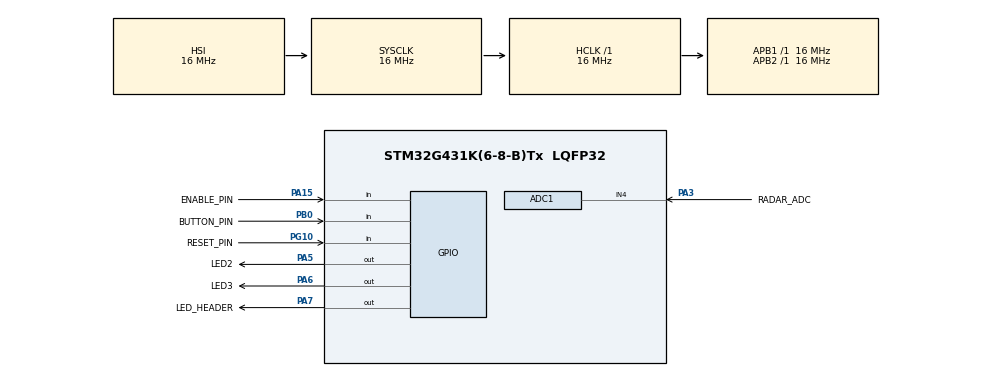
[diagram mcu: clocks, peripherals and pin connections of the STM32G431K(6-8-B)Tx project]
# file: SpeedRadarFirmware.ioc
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ADC1.Channel-1\#ChannelRegularConversion=ADC_CHANNEL_4
ADC1.DMAContinuousRequests=ENABLE
ADC1.ExternalTrigConv=ADC_EXTERNALTRIG_T6_TRGO
ADC1.NbrOfConversionFlag=1
ADC1.OffsetNumber-1\#ChannelRegularConversion=ADC_OFFSET_NONE
ADC1.Rank-1\#ChannelRegularConversion=1
ADC1.SamplingTime-1\#ChannelRegularConversion=ADC_SAMPLETIME_2CYCLES_5
ADC1.master=1
Dma.ADC1.0.Direction=DMA_PERIPH_TO_MEMORY
Dma.ADC1.0.EventEnable=DISABLE
Dma.ADC1.0.Instance=DMA1_Channel1
Dma.ADC1.0.MemDataAlignment=DMA_MDATAALIGN_HALFWORD
Dma.ADC1.0.MemInc=DMA_MINC_ENABLE
Dma.ADC1.0.Mode=DMA_CIRCULAR
Dma.ADC1.0.PeriphDataAlignment=DMA_PDATAALIGN_HALFWORD
Dma.ADC1.0.PeriphInc=DMA_PINC_DISABLE
Dma.ADC1.0.Polarity=HAL_DMAMUX_REQ_GEN_RISING
Dma.ADC1.0.Priority=DMA_PRIORITY_LOW
Dma.ADC1.0.RequestNumber=1
Dma.ADC1.0.SignalID=NONE
Dma.ADC1.0.SyncEnable=DISABLE
Dma.ADC1.0.SyncPolarity=HAL_DMAMUX_SYNC_NO_EVENT
Dma.ADC1.0.SyncRequestNumber=1
Dma.ADC1.0.SyncSignalID=NONE
Dma.Request0=ADC1
Mcu.Family=STM32G4
Mcu.Name=STM32G431K(6-8-B)Tx
Mcu.Package=LQFP32
NVIC.DMA1_Channel1_IRQn=true\:0\:0\:false\:false\:true\:false\:true\:true
NVIC.PriorityGroup=NVIC_PRIORITYGROUP_4
PA13.Signal=SYS_JTMS-SWDIO
PA14.Signal=SYS_JTCK-SWCLK
PA15.GPIO_Label=ENABLE_PIN
PA15.Signal=GPIO_Input
PA3.GPIO_Label=RADAR_ADC
PA3.Mode=IN4-Single-Ended
PA3.Signal=ADC1_IN4
PA5.GPIO_Label=LED2
PA5.Signal=GPIO_Output
PA6.GPIO_Label=LED3
PA6.Signal=GPIO_Output
PA7.GPIO_Label=LED_HEADER
PA7.Signal=GPIO_Output
PA8.Signal=I2C2_SDA
PA9.Signal=I2C2_SCL
PB0.GPIO_Label=BUTTON_PIN
PB0.Signal=GPIO_Input
PG10-NRST.GPIO_Label=RESET_PIN
PG10-NRST.Signal=GPIO_Input
ProjectManager.HeapSize=0x200
ProjectManager.StackSize=0x400
ProjectManager.TargetToolchain=STM32CubeIDE
RCC.AHBFreq_Value=16000000
RCC.APB1Freq_Value=16000000
RCC.APB1TimFreq_Value=16000000
RCC.APB2Freq_Value=16000000
RCC.APB2TimFreq_Value=16000000
RCC.CortexFreq_Value=16000000
RCC.EXTERNAL_CLOCK_VALUE=12288000
RCC.HCLKFreq_Value=16000000
RCC.HSE_VALUE=8000000
RCC.HSI48_VALUE=48000000
RCC.HSI_VALUE=16000000
RCC.LSE_VALUE=32768
RCC.SYSCLKFreq_VALUE=16000000
RCC.USBFreq_Value=64000000
RCC.VCOOutputFreq_Value=128000000
TIM6.AutoReloadPreload=TIM_AUTORELOAD_PRELOAD_ENABLE
TIM6.PeriodNoDither=99
TIM6.Prescaler=169
TIM6.TIM_MasterOutputTrigger=TIM_TRGO_UPDATE
VP_SYS_VS_DBSignals.Mode=DisableDeadBatterySignals
VP_TIM6_VS_ClockSourceINT.Mode=Enable_Timer
board=custom

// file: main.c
/* USER CODE BEGIN Header */
/**
  ******************************************************************************
  * @file           : main.c
  * @brief          : Main program body
  ******************************************************************************
  * @attention
  *
  * Copyright (c) 2026 STMicroelectronics.
  * All rights reserved.
  *
  * This software is licensed under terms that can be found in the LICENSE file
  * in the root directory of this software component.
  * If no LICENSE file comes with this software, it is provided AS-IS.
  *
  ******************************************************************************
  */
/* USER CODE END Header */
#include "main.h"

/* USER CODE BEGIN Includes */
#include "arm_math.h"
/* USER CODE END Includes */

/* USER CODE BEGIN PD */
#define ARM_MATH_CM4

#define c 299792458.0f // m/s
/* USER CODE END PD */

ADC_HandleTypeDef hadc1;
DMA_HandleTypeDef hdma_adc1;

TIM_HandleTypeDef htim6;

void SystemClock_Config(void);
static void MX_GPIO_Init(void);
static void MX_DMA_Init(void);
static void MX_ADC1_Init(void);
static void MX_TIM6_Init(void);

/* USER CODE BEGIN 0 */
uint16_t ADC_BUFFER[2048];

float32_t ADC_FLOAT[1024];
float32_t fft_output[1024];
float32_t fft_mag[512];
float32_t max_mag;
uint32_t max_mag_index;

volatile uint8_t data_ready_flag = 0;
uint16_t *current_buffer_ptr;

arm_rfft_fast_instance_f32 S;

float32_t velocity;

/* USER CODE END 0 */

int main(void)
{

  /* MCU Configuration--------------------------------------------------------*/

  /* Reset of all peripherals, Initializes the Flash interface and the Systick. */
  HAL_Init();

  /* Configure the system clock */
  SystemClock_Config();

  /* Initialize all configured peripherals */
  MX_GPIO_Init();
  MX_DMA_Init();
  MX_ADC1_Init();
  MX_TIM6_Init();
  /* USER CODE BEGIN 2 */
  HAL_ADC_Start_DMA(&hadc1, (uint32_t*)ADC_BUFFER, 2048);
  HAL_TIM_Base_Start(&htim6);

  arm_rfft_fast_init_f32(&S, 1024); // Initialize the FFT engine
  /* USER CODE END 2 */

  /* Infinite loop */
  /* USER CODE BEGIN WHILE */
  while (1)
  {
	  if(data_ready_flag != 0){
		  if(data_ready_flag == 1){
			  current_buffer_ptr = &ADC_BUFFER[0];
		  }
		  if(data_ready_flag == 2){
			  current_buffer_ptr = &ADC_BUFFER[1024];
		  }
		  for(int i = 0; i < 1024; i++){
			  ADC_FLOAT[i] = (float32_t)current_buffer_ptr[i]; // Convert to float
			  ADC_FLOAT[i] -= 2048.0f; // Deal with DC offset
		  }

		  arm_rfft_fast_f32(&S, ADC_FLOAT, fft_output, 0); // Forward FFT
		  arm_cmplx_mag_f32(fft_output, fft_mag, 512); // Calculate magnitudes of the complex frequencies

		  arm_max_f32(&fft_mag[5], 512 - 5, &max_mag, &max_mag_index); // findmax

		  // Calculate the velocity

		  velocity = c * ((max_mag_index + 5) * (10000.0f / 1024.0f)) / (2.0f * 10.525 * 1000000000.0f); // in m/s
		  velocity *= 3.6; // convert to kmh

		  data_ready_flag = 0;
	  }
    /* USER CODE END WHILE */

  }
}

void SystemClock_Config(void)
{
  RCC_OscInitTypeDef RCC_OscInitStruct = {0};
  RCC_ClkInitTypeDef RCC_ClkInitStruct = {0};

  /** Configure the main internal regulator output voltage
  */
  HAL_PWREx_ControlVoltageScaling(PWR_REGULATOR_VOLTAGE_SCALE1);

  /** Initializes the RCC Oscillators according to the specified parameters
  * in the RCC_OscInitTypeDef structure.
  */
  RCC_OscInitStruct.OscillatorType = RCC_OSCILLATORTYPE_HSI;
  RCC_OscInitStruct.HSIState = RCC_HSI_ON;
  RCC_OscInitStruct.HSICalibrationValue = RCC_HSICALIBRATION_DEFAULT;
  RCC_OscInitStruct.PLL.PLLState = RCC_PLL_NONE;
  if (HAL_RCC_OscConfig(&RCC_OscInitStruct) != HAL_OK)
  {
    Error_Handler();
  }

  /** Initializes the CPU, AHB and APB buses clocks
  */
  RCC_ClkInitStruct.ClockType = RCC_CLOCKTYPE_HCLK|RCC_CLOCKTYPE_SYSCLK
                              |RCC_CLOCKTYPE_PCLK1|RCC_CLOCKTYPE_PCLK2;
  RCC_ClkInitStruct.SYSCLKSource = RCC_SYSCLKSOURCE_HSI;
  RCC_ClkInitStruct.AHBCLKDivider = RCC_SYSCLK_DIV1;
  RCC_ClkInitStruct.APB1CLKDivider = RCC_HCLK_DIV1;
  RCC_ClkInitStruct.APB2CLKDivider = RCC_HCLK_DIV1;

  if (HAL_RCC_ClockConfig(&RCC_ClkInitStruct, FLASH_LATENCY_0) != HAL_OK)
  {
    Error_Handler();
  }
}

static void MX_ADC1_Init(void)
{

  ADC_MultiModeTypeDef multimode = {0};
  ADC_ChannelConfTypeDef sConfig = {0};

  /** Common config
  */
  hadc1.Instance = ADC1;
  hadc1.Init.ClockPrescaler = ADC_CLOCK_SYNC_PCLK_DIV2;
  hadc1.Init.Resolution = ADC_RESOLUTION_12B;
  hadc1.Init.DataAlign = ADC_DATAALIGN_RIGHT;
  hadc1.Init.GainCompensation = 0;
  hadc1.Init.ScanConvMode = ADC_SCAN_DISABLE;
  hadc1.Init.EOCSelection = ADC_EOC_SINGLE_CONV;
  hadc1.Init.LowPowerAutoWait = DISABLE;
  hadc1.Init.ContinuousConvMode = DISABLE;
  hadc1.Init.NbrOfConversion = 1;
  hadc1.Init.DiscontinuousConvMode = DISABLE;
  hadc1.Init.ExternalTrigConv = ADC_EXTERNALTRIG_T6_TRGO;
  hadc1.Init.ExternalTrigConvEdge = ADC_EXTERNALTRIGCONVEDGE_RISING;
  hadc1.Init.DMAContinuousRequests = ENABLE;
  hadc1.Init.Overrun = ADC_OVR_DATA_PRESERVED;
  hadc1.Init.OversamplingMode = DISABLE;
  if (HAL_ADC_Init(&hadc1) != HAL_OK)
  {
    Error_Handler();
  }

  /** Configure the ADC multi-mode
  */
  multimode.Mode = ADC_MODE_INDEPENDENT;
  if (HAL_ADCEx_MultiModeConfigChannel(&hadc1, &multimode) != HAL_OK)
  {
    Error_Handler();
  }

  /** Configure Regular Channel
  */
  sConfig.Channel = ADC_CHANNEL_4;
  sConfig.Rank = ADC_REGULAR_RANK_1;
  sConfig.SamplingTime = ADC_SAMPLETIME_2CYCLES_5;
  sConfig.SingleDiff = ADC_SINGLE_ENDED;
  sConfig.OffsetNumber = ADC_OFFSET_NONE;
  sConfig.Offset = 0;
  if (HAL_ADC_ConfigChannel(&hadc1, &sConfig) != HAL_OK)
  {
    Error_Handler();
  }

}

static void MX_TIM6_Init(void)
{

  TIM_MasterConfigTypeDef sMasterConfig = {0};

  htim6.Instance = TIM6;
  htim6.Init.Prescaler = 169;
  htim6.Init.CounterMode = TIM_COUNTERMODE_UP;
  htim6.Init.Period = 99;
  htim6.Init.AutoReloadPreload = TIM_AUTORELOAD_PRELOAD_ENABLE;
  if (HAL_TIM_Base_Init(&htim6) != HAL_OK)
  {
    Error_Handler();
  }
  sMasterConfig.MasterOutputTrigger = TIM_TRGO_UPDATE;
  sMasterConfig.MasterSlaveMode = TIM_MASTERSLAVEMODE_DISABLE;
  if (HAL_TIMEx_MasterConfigSynchronization(&htim6, &sMasterConfig) != HAL_OK)
  {
    Error_Handler();
  }

}

static void MX_DMA_Init(void)
{

  /* DMA controller clock enable */
  __HAL_RCC_DMAMUX1_CLK_ENABLE();
  __HAL_RCC_DMA1_CLK_ENABLE();

  /* DMA interrupt init */
  /* DMA1_Channel1_IRQn interrupt configuration */
  HAL_NVIC_SetPriority(DMA1_Channel1_IRQn, 0, 0);
  HAL_NVIC_EnableIRQ(DMA1_Channel1_IRQn);

}

static void MX_GPIO_Init(void)
{
  GPIO_InitTypeDef GPIO_InitStruct = {0};

  /* GPIO Ports Clock Enable */
  __HAL_RCC_GPIOG_CLK_ENABLE();
  __HAL_RCC_GPIOA_CLK_ENABLE();
  __HAL_RCC_GPIOB_CLK_ENABLE();

  /*Configure GPIO pin Output Level */
  HAL_GPIO_WritePin(GPIOA, LED2_Pin|LED3_Pin|LED_HEADER_Pin, GPIO_PIN_RESET);

  /*Configure GPIO pin : RESET_PIN_Pin */
  GPIO_InitStruct.Pin = RESET_PIN_Pin;
  GPIO_InitStruct.Mode = GPIO_MODE_INPUT;
  GPIO_InitStruct.Pull = GPIO_NOPULL;
  HAL_GPIO_Init(RESET_PIN_GPIO_Port, &GPIO_InitStruct);

  /*Configure GPIO pins : LED2_Pin LED3_Pin LED_HEADER_Pin */
  GPIO_InitStruct.Pin = LED2_Pin|LED3_Pin|LED_HEADER_Pin;
  GPIO_InitStruct.Mode = GPIO_MODE_OUTPUT_PP;
  GPIO_InitStruct.Pull = GPIO_NOPULL;
  GPIO_InitStruct.Speed = GPIO_SPEED_FREQ_LOW;
  HAL_GPIO_Init(GPIOA, &GPIO_InitStruct);

  /*Configure GPIO pin : BUTTON_PIN_Pin */
  GPIO_InitStruct.Pin = BUTTON_PIN_Pin;
  GPIO_InitStruct.Mode = GPIO_MODE_INPUT;
  GPIO_InitStruct.Pull = GPIO_NOPULL;
  HAL_GPIO_Init(BUTTON_PIN_GPIO_Port, &GPIO_InitStruct);

  /*Configure GPIO pins : PA8 PA9 */
  GPIO_InitStruct.Pin = GPIO_PIN_8|GPIO_PIN_9;
  GPIO_InitStruct.Mode = GPIO_MODE_AF_OD;
  GPIO_InitStruct.Pull = GPIO_NOPULL;
  GPIO_InitStruct.Speed = GPIO_SPEED_FREQ_LOW;
  GPIO_InitStruct.Alternate = GPIO_AF4_I2C2;
  HAL_GPIO_Init(GPIOA, &GPIO_InitStruct);

  /*Configure GPIO pin : ENABLE_PIN_Pin */
  GPIO_InitStruct.Pin = ENABLE_PIN_Pin;
  GPIO_InitStruct.Mode = GPIO_MODE_INPUT;
  GPIO_InitStruct.Pull = GPIO_NOPULL;
  HAL_GPIO_Init(ENABLE_PIN_GPIO_Port, &GPIO_InitStruct);

}

/* USER CODE BEGIN 4 */
// This fires when the buffer is HALF full (index 1023)
void HAL_ADC_ConvHalfCpltCallback(ADC_HandleTypeDef* hadc) {
    data_ready_flag = 1;
}

// This fires when the buffer is TOTALLY full (index 2047)
void HAL_ADC_ConvCpltCallback(ADC_HandleTypeDef* hadc) {
    data_ready_flag = 2;
}
/* USER CODE END 4 */

void Error_Handler(void)
{
  __disable_irq();
  while (1)
  {
  }
}
